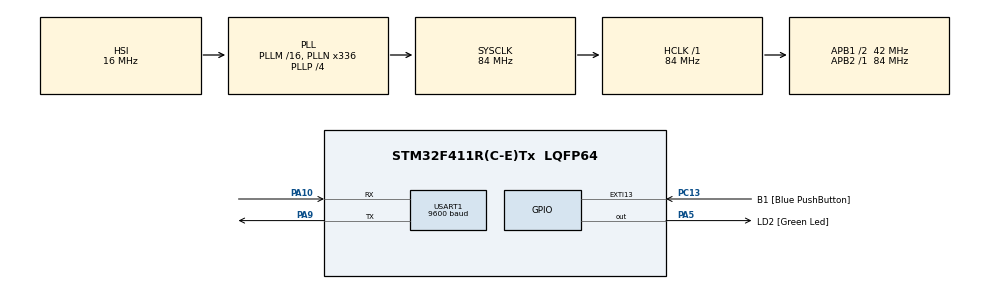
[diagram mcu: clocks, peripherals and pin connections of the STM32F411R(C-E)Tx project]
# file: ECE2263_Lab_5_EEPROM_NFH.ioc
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Mcu.Family=STM32F4
Mcu.Name=STM32F411R(C-E)Tx
Mcu.Package=LQFP64
NVIC.EXTI15_10_IRQn=true\:0\:0\:false\:false\:true\:true\:true
NVIC.PriorityGroup=NVIC_PRIORITYGROUP_0
PA10.Mode=Asynchronous
PA10.Signal=USART1_RX
PA13.GPIO_Label=TMS
PA13.Mode=Serial_Wire
PA13.Signal=SYS_JTMS-SWDIO
PA14.GPIO_Label=TCK
PA14.Mode=Serial_Wire
PA14.Signal=SYS_JTCK-SWCLK
PA2.GPIO_Label=USART_TX
PA2.Signal=USART2_TX
PA3.GPIO_Label=USART_RX
PA3.Signal=USART2_RX
PA5.GPIO_Label=LD2 [Green Led]
PA5.Signal=GPIO_Output
PA9.Mode=Asynchronous
PA9.Signal=USART1_TX
PB3.GPIO_Label=SWO
PB3.Signal=SYS_JTDO-SWO
PC13-ANTI_TAMP.GPIO_Label=B1 [Blue PushButton]
PC13-ANTI_TAMP.GPIO_ModeDefaultEXTI=GPIO_MODE_IT_FALLING
PC13-ANTI_TAMP.Signal=GPXTI13
PC14-OSC32_IN.Mode=LSE-External-Oscillator
PC14-OSC32_IN.Signal=RCC_OSC32_IN
PC15-OSC32_OUT.Mode=LSE-External-Oscillator
PC15-OSC32_OUT.Signal=RCC_OSC32_OUT
PH0\ -\ OSC_IN.Mode=HSE-External-Clock-Source
PH0\ -\ OSC_IN.Signal=RCC_OSC_IN
PH1\ -\ OSC_OUT.Mode=HSE-External-Clock-Source
PH1\ -\ OSC_OUT.Signal=RCC_OSC_OUT
ProjectManager.HeapSize=0x200
ProjectManager.StackSize=0x400
ProjectManager.TargetToolchain=STM32CubeIDE
RCC.48MHZClocksFreq_Value=84000000
RCC.AHBFreq_Value=84000000
RCC.APB1CLKDivider=RCC_HCLK_DIV2
RCC.APB1Freq_Value=42000000
RCC.APB1TimFreq_Value=84000000
RCC.APB2Freq_Value=84000000
RCC.APB2TimFreq_Value=84000000
RCC.CortexFreq_Value=84000000
RCC.FLatency-AdvancedSettings=FLASH_LATENCY_2
RCC.HCLKFreq_Value=84000000
RCC.HSE_VALUE=8000000
RCC.HSI_VALUE=16000000
RCC.PLLN=336
RCC.PLLP=RCC_PLLP_DIV4
RCC.SYSCLKFreq_VALUE=84000000
RCC.SYSCLKSource=RCC_SYSCLKSOURCE_PLLCLK
RCC.VCOOutputFreq_Value=336000000
USART1.BaudRate=9600
USART1.VirtualMode=VM_ASYNC
board=NUCLEO-F411RE

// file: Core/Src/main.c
/* USER CODE BEGIN Header */
/**
  ******************************************************************************
  * @file           : main.c
  * @brief          : Main program body
  ******************************************************************************
  * @attention
  *
  * <h2><center>&copy; Copyright (c) 2020 STMicroelectronics.
  * All rights reserved.</center></h2>
  *
  * This software component is licensed by ST under BSD 3-Clause license,
  * the "License"; You may not use this file except in compliance with the
  * License. You may obtain a copy of the License at:
  *                        opensource.org/licenses/BSD-3-Clause
  *
  ******************************************************************************
  */
/* USER CODE END Header */
#include "main.h"

/* USER CODE BEGIN Includes */
#include "string.h"
#include "stdlib.h"
#include "stdbool.h"
#include "stdio.h"
#include "memory.h"
#include "stdint.h"
#include "stm32f4xx_hal.h"
#include "stm32f4xx_hal_exti.h"
#include "stm32f4xx_hal_flash_ex.h"
#include "stm32f4xx_hal_flash.h"
#include "stm32f4xx_hal_gpio.h"
/* USER CODE END Includes */

/* USER CODE BEGIN PD */
#define EEPROM_ADDR 0x08008000
#define EEPROM_lastCounterInt (EEPROM_ADDR)
#define FLASH_PROGRAM_BYTE	((uint32_t)0x00)
#define FLASH_PROGRAM_HWORD	((uint32_t)0x01)
#define FLASH_PROGRAM_WORD	((uint32_t)0x02)
/* USER CODE END PD */

UART_HandleTypeDef huart1;

/* USER CODE BEGIN PV */
volatile uint8_t screenState;
uint32_t lastCounterInt;
/* USER CODE END PV */

void SystemClock_Config(void);
static void MX_GPIO_Init(void);
static void MX_USART1_UART_Init(void);
/* USER CODE BEGIN PFP */
void screenClear(void);
void writeEEPROM(void);
/* USER CODE END PFP */

int main(void)
{
  /* USER CODE BEGIN 1 */
  //read for last EOT number (Char)
  //read for last EOT number (INT)
  memcpy(&lastCounterInt, (void *) EEPROM_lastCounterInt, sizeof(lastCounterInt));
  /* USER CODE END 1 */

  /* MCU Configuration--------------------------------------------------------*/

  /* Reset of all peripherals, Initializes the Flash interface and the Systick. */
  HAL_Init();

  /* Configure the system clock */
  SystemClock_Config();

  /* Initialize all configured peripherals */
  MX_GPIO_Init();
  MX_USART1_UART_Init();
  /* USER CODE BEGIN 2 */
  char Message[]="Counter: ";
  char newLine[]="\r\n";

  uint8_t clearInstruction[]={0x7C, 0x2D};

  HAL_UART_Transmit(&huart1, (uint8_t *) clearInstruction, sizeof(clearInstruction), HAL_MAX_DELAY);

  uint32_t inc = lastCounterInt;
  /* USER CODE END 2 */

  /* Infinite loop */
  /* USER CODE BEGIN WHILE */
  while (1)
  {
	  char print[3];
	  	itoa(inc,print,10);

	  	HAL_UART_Transmit(&huart1, (uint8_t *) Message, strlen(Message), HAL_MAX_DELAY);
	  	HAL_UART_Transmit(&huart1, (uint8_t *) print, strlen(print), HAL_MAX_DELAY);
	  	HAL_UART_Transmit(&huart1, (uint8_t *) newLine, strlen(newLine), HAL_MAX_DELAY);
	  	HAL_Delay(1000);

	  	inc++;
	  	if(screenState == 1){
	  		lastCounterInt = inc;
	  		writeEEPROM();
	  		screenState = 0;
	  	}
    /* USER CODE END WHILE */

  }
}

void SystemClock_Config(void)
{
  RCC_OscInitTypeDef RCC_OscInitStruct = {0};
  RCC_ClkInitTypeDef RCC_ClkInitStruct = {0};

  /** Configure the main internal regulator output voltage
  */
  __HAL_RCC_PWR_CLK_ENABLE();
  __HAL_PWR_VOLTAGESCALING_CONFIG(PWR_REGULATOR_VOLTAGE_SCALE1);
  /** Initializes the RCC Oscillators according to the specified parameters
  * in the RCC_OscInitTypeDef structure.
  */
  RCC_OscInitStruct.OscillatorType = RCC_OSCILLATORTYPE_HSI;
  RCC_OscInitStruct.HSIState = RCC_HSI_ON;
  RCC_OscInitStruct.HSICalibrationValue = RCC_HSICALIBRATION_DEFAULT;
  RCC_OscInitStruct.PLL.PLLState = RCC_PLL_ON;
  RCC_OscInitStruct.PLL.PLLSource = RCC_PLLSOURCE_HSI;
  RCC_OscInitStruct.PLL.PLLM = 16;
  RCC_OscInitStruct.PLL.PLLN = 336;
  RCC_OscInitStruct.PLL.PLLP = RCC_PLLP_DIV4;
  RCC_OscInitStruct.PLL.PLLQ = 4;
  if (HAL_RCC_OscConfig(&RCC_OscInitStruct) != HAL_OK)
  {
    Error_Handler();
  }
  /** Initializes the CPU, AHB and APB buses clocks
  */
  RCC_ClkInitStruct.ClockType = RCC_CLOCKTYPE_HCLK|RCC_CLOCKTYPE_SYSCLK
                              |RCC_CLOCKTYPE_PCLK1|RCC_CLOCKTYPE_PCLK2;
  RCC_ClkInitStruct.SYSCLKSource = RCC_SYSCLKSOURCE_PLLCLK;
  RCC_ClkInitStruct.AHBCLKDivider = RCC_SYSCLK_DIV1;
  RCC_ClkInitStruct.APB1CLKDivider = RCC_HCLK_DIV2;
  RCC_ClkInitStruct.APB2CLKDivider = RCC_HCLK_DIV1;

  if (HAL_RCC_ClockConfig(&RCC_ClkInitStruct, FLASH_LATENCY_2) != HAL_OK)
  {
    Error_Handler();
  }
}

static void MX_USART1_UART_Init(void)
{

  huart1.Instance = USART1;
  huart1.Init.BaudRate = 9600;
  huart1.Init.WordLength = UART_WORDLENGTH_8B;
  huart1.Init.StopBits = UART_STOPBITS_1;
  huart1.Init.Parity = UART_PARITY_NONE;
  huart1.Init.Mode = UART_MODE_TX_RX;
  huart1.Init.HwFlowCtl = UART_HWCONTROL_NONE;
  huart1.Init.OverSampling = UART_OVERSAMPLING_16;
  if (HAL_UART_Init(&huart1) != HAL_OK)
  {
    Error_Handler();
  }

}

static void MX_GPIO_Init(void)
{
  GPIO_InitTypeDef GPIO_InitStruct = {0};

  /* GPIO Ports Clock Enable */
  __HAL_RCC_GPIOC_CLK_ENABLE();
  __HAL_RCC_GPIOH_CLK_ENABLE();
  __HAL_RCC_GPIOA_CLK_ENABLE();
  __HAL_RCC_GPIOB_CLK_ENABLE();

  /*Configure GPIO pin Output Level */
  HAL_GPIO_WritePin(LD2_GPIO_Port, LD2_Pin, GPIO_PIN_RESET);

  /*Configure GPIO pin : B1_Pin */
  GPIO_InitStruct.Pin = B1_Pin;
  GPIO_InitStruct.Mode = GPIO_MODE_IT_FALLING;
  GPIO_InitStruct.Pull = GPIO_NOPULL;
  HAL_GPIO_Init(B1_GPIO_Port, &GPIO_InitStruct);

  /*Configure GPIO pins : USART_TX_Pin USART_RX_Pin */
  GPIO_InitStruct.Pin = USART_TX_Pin|USART_RX_Pin;
  GPIO_InitStruct.Mode = GPIO_MODE_AF_PP;
  GPIO_InitStruct.Pull = GPIO_NOPULL;
  GPIO_InitStruct.Speed = GPIO_SPEED_FREQ_VERY_HIGH;
  GPIO_InitStruct.Alternate = GPIO_AF7_USART2;
  HAL_GPIO_Init(GPIOA, &GPIO_InitStruct);

  /*Configure GPIO pin : LD2_Pin */
  GPIO_InitStruct.Pin = LD2_Pin;
  GPIO_InitStruct.Mode = GPIO_MODE_OUTPUT_PP;
  GPIO_InitStruct.Pull = GPIO_NOPULL;
  GPIO_InitStruct.Speed = GPIO_SPEED_FREQ_LOW;
  HAL_GPIO_Init(LD2_GPIO_Port, &GPIO_InitStruct);

  /* EXTI interrupt init*/
  HAL_NVIC_SetPriority(EXTI15_10_IRQn, 0, 0);
  HAL_NVIC_EnableIRQ(EXTI15_10_IRQn);

}

/* USER CODE BEGIN 4 */
void screenClear(void){
	uint8_t clearInstruction[]={0x7C, 0x2D};
	HAL_UART_Transmit(&huart1, (uint8_t *) clearInstruction, sizeof(clearInstruction), HAL_MAX_DELAY);

}

void writeEEPROM(void){

	  HAL_FLASH_Unlock();
	  __HAL_FLASH_CLEAR_FLAG(FLASH_FLAG_EOP | FLASH_FLAG_OPERR | FLASH_FLAG_WRPERR | FLASH_FLAG_PGAERR | FLASH_FLAG_PGSERR | FLASH_FLAG_PGPERR);

	  FLASH_Erase_Sector(FLASH_SECTOR_2, FLASH_VOLTAGE_RANGE_1);

	  HAL_FLASH_Program(TYPEPROGRAM_WORD, EEPROM_lastCounterInt, lastCounterInt);
	  HAL_Delay(1000);
	  HAL_FLASH_Lock();

}
/* USER CODE END 4 */

void Error_Handler(void)
{
}

/************************ (C) COPYRIGHT STMicroelectronics *****END OF FILE****/
